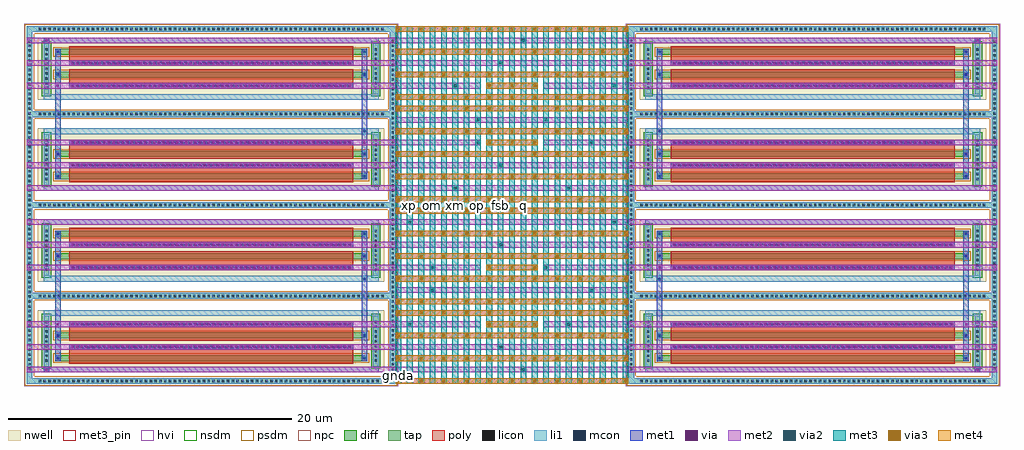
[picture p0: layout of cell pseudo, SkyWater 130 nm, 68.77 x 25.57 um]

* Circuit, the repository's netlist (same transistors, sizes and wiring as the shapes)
* NGSPICE file created from pseudo.ext - technology: sky130A

.subckt pseudo xp om xm op fsb q gnda
X0 xp xp om q sky130_fd_pr__pfet_g5v0d10v5 ad=4.2e+11p pd=2.84e+06u as=4.2e+11p ps=2.84e+06u w=420000u l=2e+07u
X1 xm fsb op q sky130_fd_pr__pfet_g5v0d10v5 ad=4.2e+11p pd=2.84e+06u as=4.2e+11p ps=2.84e+06u w=420000u l=2e+07u
X2 xm op op op sky130_fd_pr__pfet_g5v0d10v5 ad=4.2e+11p pd=2.84e+06u as=4.2e+11p ps=2.84e+06u w=420000u l=2e+07u
X3 op fsb xm q sky130_fd_pr__pfet_g5v0d10v5 ad=4.2e+11p pd=2.84e+06u as=4.2e+11p ps=2.84e+06u w=420000u l=2e+07u
X4 op fsb xm op sky130_fd_pr__pfet_g5v0d10v5 ad=4.2e+11p pd=2.84e+06u as=4.2e+11p ps=2.84e+06u w=420000u l=2e+07u
X5 xm fsb op op sky130_fd_pr__pfet_g5v0d10v5 ad=4.2e+11p pd=2.84e+06u as=4.2e+11p ps=2.84e+06u w=420000u l=2e+07u
X6 op op xm op sky130_fd_pr__pfet_g5v0d10v5 ad=4.2e+11p pd=2.84e+06u as=4.2e+11p ps=2.84e+06u w=420000u l=2e+07u
X7 op xm xm q sky130_fd_pr__pfet_g5v0d10v5 ad=4.2e+11p pd=2.84e+06u as=4.2e+11p ps=2.84e+06u w=420000u l=2e+07u
X8 om fsb xp q sky130_fd_pr__pfet_g5v0d10v5 ad=4.2e+11p pd=2.84e+06u as=4.2e+11p ps=2.84e+06u w=420000u l=2e+07u
X9 om xp xp q sky130_fd_pr__pfet_g5v0d10v5 ad=4.2e+11p pd=2.84e+06u as=4.2e+11p ps=2.84e+06u w=420000u l=2e+07u
X10 xm xm op q sky130_fd_pr__pfet_g5v0d10v5 ad=4.2e+11p pd=2.84e+06u as=4.2e+11p ps=2.84e+06u w=420000u l=2e+07u
X11 xp fsb om q sky130_fd_pr__pfet_g5v0d10v5 ad=4.2e+11p pd=2.84e+06u as=4.2e+11p ps=2.84e+06u w=420000u l=2e+07u
X12 xp fsb om om sky130_fd_pr__pfet_g5v0d10v5 ad=4.2e+11p pd=2.84e+06u as=4.2e+11p ps=2.84e+06u w=420000u l=2e+07u
X13 om om xp om sky130_fd_pr__pfet_g5v0d10v5 ad=4.2e+11p pd=2.84e+06u as=4.2e+11p ps=2.84e+06u w=420000u l=2e+07u
X14 xp om om om sky130_fd_pr__pfet_g5v0d10v5 ad=4.2e+11p pd=2.84e+06u as=4.2e+11p ps=2.84e+06u w=420000u l=2e+07u
X15 om fsb xp om sky130_fd_pr__pfet_g5v0d10v5 ad=4.2e+11p pd=2.84e+06u as=4.2e+11p ps=2.84e+06u w=420000u l=2e+07u
.ends

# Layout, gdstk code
import gdstk
lib = gdstk.Library(unit=1e-6, precision=1e-09)
def R(c, l, rs):  # rectangles x0, y0, x1, y1
    for r in rs: c.add(gdstk.rectangle(r[:2], r[2:], *l))
def A(c, l, x, y, w, h, nx, ny, dx, dy):  # array of equal rectangles
    R(c, l, [(x+i*dx, y+j*dy, x+i*dx+w, y+j*dy+h) for i in range(nx) for j in range(ny)])
nwell = (64, 20)
diff = (65, 20)
tap = (65, 44)
poly = (66, 20)
licon = (66, 44)
li1 = (67, 20)
mcon = (67, 44)
met1 = (68, 20)
via = (68, 44)
met2 = (69, 20)
via2 = (69, 44)
met3_pin = (70, 16)
met3 = (70, 20)
via3 = (70, 44)
met4 = (71, 20)
hvi = (75, 20)
nsdm = (93, 44)
psdm = (94, 20)
npc = (95, 20)

pseudo = lib.new_cell('pseudo')
A(pseudo, nwell, -2, -2.8, 24.4, 4.4, 1, 4, 0, 6.4)
A(pseudo, nwell, 40.4, -2.8, 24.4, 4.4, 1, 4, 0, 6.4)
R(pseudo, diff, [(-0.8,-2,21.2,-1.58), (41.6,-2,63.6,-1.58), (-0.8,-0.4,21.2,0.02), (41.6,-0.4,63.6,0.02), (-0.8,5.18,21.2,5.6), (41.6,5.18,63.6,5.6), (-0.8,6.78,21.2,7.2), (41.6,6.78,63.6,7.2), (-0.8,10.8,21.2,11.22), (41.6,10.8,63.6,11.22), (-0.8,12.4,21.2,12.82), (41.6,12.4,63.6,12.82), (-0.8,17.98,21.2,18.4), (41.6,17.98,63.6,18.4), (-0.8,19.58,21.2,20), (41.6,19.58,63.6,20)])
A(pseudo, tap, -1.6, -2.4, 0.4, 3.6, 1, 4, 0, 6.4)
A(pseudo, tap, 21.6, -2.4, 0.4, 3.6, 1, 4, 0, 6.4)
A(pseudo, tap, 40.8, -2.4, 0.4, 3.6, 1, 4, 0, 6.4)
A(pseudo, tap, 64, -2.4, 0.4, 3.6, 1, 4, 0, 6.4)
A(pseudo, tap, -2.8, 2.4, 26, 0.4, 1, 3, 0, 6.4)
A(pseudo, tap, 39.6, 2.4, 26, 0.4, 1, 3, 0, 6.4)
R(pseudo, tap, [(-2.8,-3.6,23.2,-3.2), (39.6,-3.6,65.6,-3.2), (-2.8,-3.2,-2.4,2.4), (22.8,-3.2,23.2,2.4), (39.6,-3.2,40,2.4), (65.2,-3.2,65.6,2.4), (-2.8,2.8,-2.4,8.8), (22.8,2.8,23.2,8.8), (39.6,2.8,40,8.8), (65.2,2.8,65.6,8.8), (-2.8,9.2,-2.4,15.2), (22.8,9.2,23.2,15.2), (39.6,9.2,40,15.2), (65.2,9.2,65.6,15.2), (-2.8,15.6,-2.4,21.2), (22.8,15.6,23.2,21.2), (39.6,15.6,40,21.2), (65.2,15.6,65.6,21.2), (-2.8,21.2,23.2,21.6), (39.6,21.2,65.6,21.6)])
R(pseudo, poly, [(0.2,-2.2,20.2,-0.8), (42.6,-2.2,62.6,-0.8), (0.2,-0.55,20.2,0.8), (42.6,-0.55,62.6,0.8), (0.2,4.4,20.2,5.75), (42.6,4.4,62.6,5.75), (0.2,6,20.2,7.4), (42.6,6,62.6,7.4), (0.2,10.6,20.2,12), (42.6,10.6,62.6,12), (0.2,12.25,20.2,13.6), (42.6,12.25,62.6,13.6), (0.2,17.2,20.2,18.55), (42.6,17.2,62.6,18.55), (0.2,18.8,20.2,20.2), (42.6,18.8,62.6,20.2)])
A(pseudo, licon, -1.955, -3.485, 0.17, 0.17, 72, 2, 0.34, 6)
A(pseudo, licon, 40.445, -3.485, 0.17, 0.17, 72, 2, 0.34, 6)
A(pseudo, licon, -2.685, -2.645, 0.17, 0.17, 1, 69, 0, 0.34)
A(pseudo, licon, 22.915, -2.645, 0.17, 0.17, 1, 69, 0, 0.34)
A(pseudo, licon, 39.715, -2.645, 0.17, 0.17, 1, 69, 0, 0.34)
A(pseudo, licon, 65.315, -2.645, 0.17, 0.17, 1, 69, 0, 0.34)
A(pseudo, licon, -1.485, -2.045, 0.17, 0.17, 1, 9, 0, 0.34)
A(pseudo, licon, 21.715, -2.045, 0.17, 0.17, 1, 9, 0, 0.34)
A(pseudo, licon, 40.915, -2.045, 0.17, 0.17, 1, 9, 0, 0.34)
A(pseudo, licon, 64.115, -2.045, 0.17, 0.17, 1, 9, 0, 0.34)
A(pseudo, licon, 0.425, -1.085, 0.17, 0.17, 58, 2, 0.34, 1.6)
A(pseudo, licon, 42.825, -1.085, 0.17, 0.17, 58, 2, 0.34, 1.6)
A(pseudo, licon, -1.485, 4.355, 0.17, 0.17, 1, 9, 0, 0.34)
A(pseudo, licon, 21.715, 4.355, 0.17, 0.17, 1, 9, 0, 0.34)
A(pseudo, licon, 40.915, 4.355, 0.17, 0.17, 1, 9, 0, 0.34)
A(pseudo, licon, 64.115, 4.355, 0.17, 0.17, 1, 9, 0, 0.34)
A(pseudo, licon, 0.425, 4.515, 0.17, 0.17, 58, 2, 0.34, 1.6)
A(pseudo, licon, 42.825, 4.515, 0.17, 0.17, 58, 2, 0.34, 1.6)
A(pseudo, licon, -1.955, 8.915, 0.17, 0.17, 72, 2, 0.34, 6.4)
A(pseudo, licon, 40.445, 8.915, 0.17, 0.17, 72, 2, 0.34, 6.4)
A(pseudo, licon, -1.485, 10.755, 0.17, 0.17, 1, 9, 0, 0.34)
A(pseudo, licon, 21.715, 10.755, 0.17, 0.17, 1, 9, 0, 0.34)
A(pseudo, licon, 40.915, 10.755, 0.17, 0.17, 1, 9, 0, 0.34)
A(pseudo, licon, 64.115, 10.755, 0.17, 0.17, 1, 9, 0, 0.34)
A(pseudo, licon, 0.425, 11.715, 0.17, 0.17, 58, 2, 0.34, 1.6)
A(pseudo, licon, 42.825, 11.715, 0.17, 0.17, 58, 2, 0.34, 1.6)
A(pseudo, licon, -1.485, 17.155, 0.17, 0.17, 1, 9, 0, 0.34)
A(pseudo, licon, 21.715, 17.155, 0.17, 0.17, 1, 9, 0, 0.34)
A(pseudo, licon, 40.915, 17.155, 0.17, 0.17, 1, 9, 0, 0.34)
A(pseudo, licon, 64.115, 17.155, 0.17, 0.17, 1, 9, 0, 0.34)
A(pseudo, licon, 0.425, 17.315, 0.17, 0.17, 58, 2, 0.34, 1.6)
A(pseudo, licon, 42.825, 17.315, 0.17, 0.17, 58, 2, 0.34, 1.6)
A(pseudo, licon, -1.955, 21.315, 0.17, 0.17, 72, 1, 0.34, 0)
A(pseudo, licon, 40.445, 21.315, 0.17, 0.17, 72, 1, 0.34, 0)
R(pseudo, licon, [(-0.685,-1.885,-0.515,-1.715), (20.915,-1.885,21.085,-1.715), (41.715,-1.885,41.885,-1.715), (63.315,-1.885,63.485,-1.715), (-0.685,-0.285,-0.515,-0.115), (20.915,-0.285,21.085,-0.115), (41.715,-0.285,41.885,-0.115), (63.315,-0.285,63.485,-0.115), (-0.685,5.315,-0.515,5.485), (20.915,5.315,21.085,5.485), (41.715,5.315,41.885,5.485), (63.315,5.315,63.485,5.485), (-0.685,6.915,-0.515,7.085), (20.915,6.915,21.085,7.085), (41.715,6.915,41.885,7.085), (63.315,6.915,63.485,7.085), (-0.685,10.915,-0.515,11.085), (20.915,10.915,21.085,11.085), (41.715,10.915,41.885,11.085), (63.315,10.915,63.485,11.085), (-0.685,12.515,-0.515,12.685), (20.915,12.515,21.085,12.685), (41.715,12.515,41.885,12.685), (63.315,12.515,63.485,12.685), (-0.685,18.115,-0.515,18.285), (20.915,18.115,21.085,18.285), (41.715,18.115,41.885,18.285), (63.315,18.115,63.485,18.285), (-0.685,19.715,-0.515,19.885), (20.915,19.715,21.085,19.885), (41.715,19.715,41.885,19.885), (63.315,19.715,63.485,19.885)])
A(pseudo, li1, -1.6, -2.4, 0.4, 3.6, 1, 4, 0, 6.4)
A(pseudo, li1, 21.6, -2.4, 0.4, 3.6, 1, 4, 0, 6.4)
A(pseudo, li1, 40.8, -2.4, 0.4, 3.6, 1, 4, 0, 6.4)
A(pseudo, li1, 64, -2.4, 0.4, 3.6, 1, 4, 0, 6.4)
A(pseudo, li1, -2.8, 2.4, 26, 0.4, 1, 3, 0, 6.4)
A(pseudo, li1, 39.6, 2.4, 26, 0.4, 1, 3, 0, 6.4)
R(pseudo, li1, [(-2.8,-3.6,65.6,-3.2), (-2.8,-3.2,-2.4,2.4), (22.8,-3.2,23.2,2.4), (39.6,-3.2,40,2.4), (65.2,-3.2,65.6,2.4), (-1.6,-2.8,22,-2.4), (40.8,-2.8,64.4,-2.4), (-0.8,-2,-0.4,-1.58), (20.8,-2,21.2,-1.58), (41.6,-2,42,-1.58), (63.2,-2,63.6,-1.58), (0.2,-1.2,20.2,-0.8), (42.6,-1.2,62.6,-0.8), (-0.8,-0.4,-0.4,0.02), (20.8,-0.4,21.2,0.02), (41.6,-0.4,42,0.02), (63.2,-0.4,63.6,0.02), (0.2,0.4,20.2,0.8), (42.6,0.4,62.6,0.8), (-1.6,1.2,22,1.6), (40.8,1.2,64.4,1.6), (-2.8,2.8,-2.4,8.8), (22.8,2.8,23.2,8.8), (39.6,2.8,40,8.8), (65.2,2.8,65.6,8.8), (-1.6,3.6,22,4), (40.8,3.6,64.4,4), (0.2,4.4,20.2,4.8), (42.6,4.4,62.6,4.8), (-0.8,5.18,-0.4,5.6), (20.8,5.18,21.2,5.6), (41.6,5.18,42,5.6), (63.2,5.18,63.6,5.6), (0.2,6,20.2,6.4), (42.6,6,62.6,6.4), (-0.8,6.78,-0.4,7.2), (20.8,6.78,21.2,7.2), (41.6,6.78,42,7.2), (63.2,6.78,63.6,7.2), (-1.6,7.6,22,8), (40.8,7.6,64.4,8), (-2.8,9.2,-2.4,15.2), (22.8,9.2,23.2,15.2), (39.6,9.2,40,15.2), (65.2,9.2,65.6,15.2), (-1.6,10,22,10.4), (40.8,10,64.4,10.4), (-0.8,10.8,-0.4,11.22), (20.8,10.8,21.2,11.22), (41.6,10.8,42,11.22), (63.2,10.8,63.6,11.22), (0.2,11.6,20.2,12), (42.6,11.6,62.6,12), (-0.8,12.4,-0.4,12.82), (20.8,12.4,21.2,12.82), (41.6,12.4,42,12.82), (63.2,12.4,63.6,12.82), (0.2,13.2,20.2,13.6), (42.6,13.2,62.6,13.6), (-1.6,14,22,14.4), (40.8,14,64.4,14.4), (-2.8,15.6,-2.4,21.2), (22.8,15.6,23.2,21.2), (39.6,15.6,40,21.2), (65.2,15.6,65.6,21.2), (-1.6,16.4,22,16.8), (40.8,16.4,64.4,16.8), (0.2,17.2,20.2,17.6), (42.6,17.2,62.6,17.6), (-0.8,17.98,-0.4,18.4), (20.8,17.98,21.2,18.4), (41.6,17.98,42,18.4), (63.2,17.98,63.6,18.4), (0.2,18.8,20.2,19.2), (42.6,18.8,62.6,19.2), (-0.8,19.58,-0.4,20), (20.8,19.58,21.2,20), (41.6,19.58,42,20), (63.2,19.58,63.6,20), (-1.6,20.4,22,20.8), (40.8,20.4,64.4,20.8), (-2.8,21.2,65.6,21.6)])
A(pseudo, mcon, 0.395, -1.085, 0.17, 0.17, 55, 2, 0.36, 1.6)
A(pseudo, mcon, 42.795, -1.085, 0.17, 0.17, 55, 2, 0.36, 1.6)
A(pseudo, mcon, 20.915, 3.715, 0.17, 0.17, 1, 3, 0, 1.6)
A(pseudo, mcon, 41.715, 3.715, 0.17, 0.17, 1, 3, 0, 1.6)
A(pseudo, mcon, 0.395, 4.515, 0.17, 0.17, 55, 2, 0.36, 1.6)
A(pseudo, mcon, 42.795, 4.515, 0.17, 0.17, 55, 2, 0.36, 1.6)
A(pseudo, mcon, 20.915, 10.915, 0.17, 0.17, 1, 3, 0, 1.6)
A(pseudo, mcon, 41.715, 10.915, 0.17, 0.17, 1, 3, 0, 1.6)
A(pseudo, mcon, 0.395, 11.715, 0.17, 0.17, 55, 2, 0.36, 1.6)
A(pseudo, mcon, 42.795, 11.715, 0.17, 0.17, 55, 2, 0.36, 1.6)
A(pseudo, mcon, 0.395, 17.315, 0.17, 0.17, 55, 2, 0.36, 1.6)
A(pseudo, mcon, 42.795, 17.315, 0.17, 0.17, 55, 2, 0.36, 1.6)
R(pseudo, mcon, [(-1.485,-2.685,-1.315,-2.515), (64.115,-2.685,64.285,-2.515), (-0.685,-1.885,-0.515,-1.715), (20.915,-1.885,21.085,-1.715), (41.715,-1.885,41.885,-1.715), (63.315,-1.885,63.485,-1.715), (-0.685,-0.285,-0.515,-0.115), (20.915,-0.285,21.085,-0.115), (41.715,-0.285,41.885,-0.115), (63.315,-0.285,63.485,-0.115), (-0.685,5.315,-0.515,5.485), (63.315,5.315,63.485,5.485), (-0.685,6.915,-0.515,7.085), (63.315,6.915,63.485,7.085), (-0.685,10.915,-0.515,11.085), (63.315,10.915,63.485,11.085), (-0.685,12.515,-0.515,12.685), (63.315,12.515,63.485,12.685), (-0.685,18.115,-0.515,18.285), (20.915,18.115,21.085,18.285), (41.715,18.115,41.885,18.285), (63.315,18.115,63.485,18.285), (-0.685,19.715,-0.515,19.885), (20.915,19.715,21.085,19.885), (41.715,19.715,41.885,19.885), (63.315,19.715,63.485,19.885), (-1.485,20.515,-1.315,20.685), (64.115,20.515,64.285,20.685)])
R(pseudo, met1, [(-1.6,-2.8,-1.2,-2.4), (64,-2.8,64.4,-2.4), (-0.8,-2,-0.4,7.2), (20.8,-2,21.2,7.2), (41.6,-2,42,7.2), (63.2,-2,63.6,7.2), (0.2,-1.2,20.2,-0.8), (42.6,-1.2,62.6,-0.8), (0.2,0.4,20.2,0.8), (42.6,0.4,62.6,0.8), (0.2,4.4,20.2,4.8), (42.6,4.4,62.6,4.8), (0.2,6,20.2,6.4), (42.6,6,62.6,6.4), (-0.8,10.8,-0.4,20), (20.8,10.8,21.2,20), (41.6,10.8,42,20), (63.2,10.8,63.6,20), (0.2,11.6,20.2,12), (42.6,11.6,62.6,12), (0.2,13.2,20.2,13.6), (42.6,13.2,62.6,13.6), (0.2,17.2,20.2,17.6), (42.6,17.2,62.6,17.6), (0.2,18.8,20.2,19.2), (42.6,18.8,62.6,19.2), (-1.6,20.4,-1.2,20.8), (64,20.4,64.4,20.8)])
A(pseudo, via, 0.365, -1.075, 0.15, 0.15, 62, 2, 0.32, 1.6)
A(pseudo, via, 42.765, -1.075, 0.15, 0.15, 62, 2, 0.32, 1.6)
A(pseudo, via, 0.365, 4.525, 0.15, 0.15, 62, 2, 0.32, 1.6)
A(pseudo, via, 42.765, 4.525, 0.15, 0.15, 62, 2, 0.32, 1.6)
A(pseudo, via, 0.365, 11.725, 0.15, 0.15, 62, 2, 0.32, 1.6)
A(pseudo, via, 42.765, 11.725, 0.15, 0.15, 62, 2, 0.32, 1.6)
A(pseudo, via, 0.365, 17.325, 0.15, 0.15, 62, 2, 0.32, 1.6)
A(pseudo, via, 42.765, 17.325, 0.15, 0.15, 62, 2, 0.32, 1.6)
R(pseudo, via, [(-1.475,-2.675,-1.325,-2.525), (64.125,-2.675,64.275,-2.525), (-0.675,0.525,-0.525,0.675), (63.325,0.525,63.475,0.675), (20.925,4.525,21.075,4.675), (41.725,4.525,41.875,4.675), (20.925,13.325,21.075,13.475), (41.725,13.325,41.875,13.475), (-0.675,17.325,-0.525,17.475), (63.325,17.325,63.475,17.475), (-1.475,20.525,-1.325,20.675), (64.125,20.525,64.275,20.675)])
A(pseudo, met2, 23.2, -3.6, 16.4, 0.4, 1, 4, 0, 1.6)
A(pseudo, met2, 23.2, 2, 16.4, 0.4, 1, 3, 0, 0.8)
A(pseudo, met2, 23.2, 5.2, 16.4, 0.4, 1, 3, 0, 1.6)
A(pseudo, met2, 23.2, 9.2, 16.4, 0.4, 1, 4, 0, 1.6)
A(pseudo, met2, 23.2, 14.8, 16.4, 0.4, 1, 3, 0, 0.8)
A(pseudo, met2, 23.2, 18, 16.4, 0.4, 1, 3, 0, 1.6)
R(pseudo, met2, [(-2.8,-2.8,65.6,-2.4), (-2.8,-1.2,65.6,-0.8), (-2.8,0.4,29.2,0.8), (29.6,0.4,33.2,0.8), (33.6,0.4,65.6,0.8), (-2.8,4.4,29.2,4.8), (29.6,4.4,33.2,4.8), (33.6,4.4,65.6,4.8), (-2.8,6,65.6,6.4), (-2.8,7.6,65.6,8), (-2.8,10,65.6,10.4), (-2.8,11.6,65.6,12), (-2.8,13.2,29.2,13.6), (29.6,13.2,33.2,13.6), (33.6,13.2,65.6,13.6), (-2.8,17.2,29.2,17.6), (29.6,17.2,33.2,17.6), (33.6,17.2,65.6,17.6), (-2.8,18.8,65.6,19.2), (-2.8,20.4,65.6,20.8)])
A(pseudo, via2, 23.3, -3.5, 0.2, 0.2, 11, 4, 1.6, 1.6)
A(pseudo, via2, 29.7, 0.5, 0.2, 0.2, 3, 2, 1.6, 4)
A(pseudo, via2, 23.3, 2.1, 0.2, 0.2, 11, 5, 1.6, 1.6)
A(pseudo, via2, 23.3, 9.3, 0.2, 0.2, 11, 5, 1.6, 1.6)
A(pseudo, via2, 29.7, 13.3, 0.2, 0.2, 3, 2, 1.6, 4)
A(pseudo, via2, 23.3, 16.5, 0.2, 0.2, 11, 4, 1.6, 1.6)
R(pseudo, via2, [(32.1,-2.7,32.3,-2.5), (30.5,-1.1,30.7,-0.9), (24.1,0.5,24.3,0.7), (35.3,0.5,35.5,0.7), (25.7,2.9,25.9,3.1), (36.9,2.9,37.1,3.1), (25.7,4.5,25.9,4.7), (33.7,4.5,33.9,4.7), (30.5,6.1,30.7,6.3), (24.1,7.7,24.3,7.9), (38.5,7.7,38.7,7.9), (27.3,10.1,27.5,10.3), (35.3,10.1,35.5,10.3), (30.5,11.7,30.7,11.9), (28.9,13.3,29.1,13.5), (36.9,13.3,37.1,13.5), (28.9,14.9,29.1,15.1), (33.7,14.9,33.9,15.1), (27.3,17.3,27.5,17.5), (38.5,17.3,38.7,17.5), (30.5,18.9,30.7,19.1), (32.1,20.5,32.3,20.7)])
A(pseudo, met3_pin, 24, -3.6, 0.4, 25.2, 6, 1, 1.6, 0)
R(pseudo, met3_pin, [(23.2,-3.2,23.6,-2.8)])
A(pseudo, met3, 23.2, -3.6, 0.4, 25.2, 21, 1, 0.8, 0)
A(pseudo, via3, 23.3, -3.5, 0.2, 0.2, 11, 4, 1.6, 1.6)
A(pseudo, via3, 29.7, 0.5, 0.2, 0.2, 3, 2, 1.6, 4)
A(pseudo, via3, 23.3, 2.1, 0.2, 0.2, 11, 5, 1.6, 1.6)
A(pseudo, via3, 23.3, 9.3, 0.2, 0.2, 11, 5, 1.6, 1.6)
A(pseudo, via3, 29.7, 13.3, 0.2, 0.2, 3, 2, 1.6, 4)
A(pseudo, via3, 23.3, 16.5, 0.2, 0.2, 11, 4, 1.6, 1.6)
A(pseudo, met4, 23.2, -3.6, 16.4, 0.4, 1, 4, 0, 1.6)
A(pseudo, met4, 23.2, 2, 16.4, 0.4, 1, 5, 0, 1.6)
A(pseudo, met4, 23.2, 9.2, 16.4, 0.4, 1, 5, 0, 1.6)
A(pseudo, met4, 23.2, 16.4, 16.4, 0.4, 1, 4, 0, 1.6)
R(pseudo, met4, [(29.6,0.4,33.2,0.8), (29.6,4.4,33.2,4.8), (29.6,13.2,33.2,13.6), (29.6,17.2,33.2,17.6)])
R(pseudo, hvi, [(-2.985,-3.785,23.385,21.785), (39.415,-3.785,65.785,21.785)])
A(pseudo, nsdm, -1.725, -2.525, 0.65, 3.85, 1, 4, 0, 6.4)
A(pseudo, nsdm, 21.475, -2.525, 0.65, 3.85, 1, 4, 0, 6.4)
A(pseudo, nsdm, 40.675, -2.525, 0.65, 3.85, 1, 4, 0, 6.4)
A(pseudo, nsdm, 63.875, -2.525, 0.65, 3.85, 1, 4, 0, 6.4)
A(pseudo, psdm, -2.925, 2.275, 26.25, 0.65, 1, 3, 0, 6.4)
A(pseudo, psdm, 39.475, 2.275, 26.25, 0.65, 1, 3, 0, 6.4)
R(pseudo, psdm, [(-2.925,-3.725,23.325,-3.075), (39.475,-3.725,65.725,-3.075), (-2.925,-3.075,-2.275,2.275), (22.675,-3.075,23.325,2.275), (39.475,-3.075,40.125,2.275), (65.075,-3.075,65.725,2.275), (-0.925,-2.125,21.325,-1.455), (41.475,-2.125,63.725,-1.455), (-0.925,-0.525,21.325,0.145), (41.475,-0.525,63.725,0.145), (-2.925,2.925,-2.275,8.675), (22.675,2.925,23.325,8.675), (39.475,2.925,40.125,8.675), (65.075,2.925,65.725,8.675), (-0.925,5.055,21.325,5.725), (41.475,5.055,63.725,5.725), (-0.925,6.655,21.325,7.325), (41.475,6.655,63.725,7.325), (-2.925,9.325,-2.275,15.075), (22.675,9.325,23.325,15.075), (39.475,9.325,40.125,15.075), (65.075,9.325,65.725,15.075), (-0.925,10.675,21.325,11.345), (41.475,10.675,63.725,11.345), (-0.925,12.275,21.325,12.945), (41.475,12.275,63.725,12.945), (-2.925,15.725,-2.275,21.075), (22.675,15.725,23.325,21.075), (39.475,15.725,40.125,21.075), (65.075,15.725,65.725,21.075), (-0.925,17.855,21.325,18.525), (41.475,17.855,63.725,18.525), (-0.925,19.455,21.325,20.125), (41.475,19.455,63.725,20.125), (-2.925,21.075,23.325,21.725), (39.475,21.075,65.725,21.725)])
R(pseudo, npc, [(0.325,-1.185,20.075,-0.815), (42.725,-1.185,62.475,-0.815), (0.325,0.415,20.075,0.785), (42.725,0.415,62.475,0.785), (0.325,4.415,20.075,4.785), (42.725,4.415,62.475,4.785), (0.325,6.015,20.075,6.385), (42.725,6.015,62.475,6.385), (0.325,11.615,20.075,11.985), (42.725,11.615,62.475,11.985), (0.325,13.215,20.075,13.585), (42.725,13.215,62.475,13.585), (0.325,17.215,20.075,17.585), (42.725,17.215,62.475,17.585), (0.325,18.815,20.075,19.185), (42.725,18.815,62.475,19.185)])
pseudo.add(gdstk.Label('xp', (24.2,9), layer=70, texttype=16))
pseudo.add(gdstk.Label('om', (25.8,9), layer=70, texttype=16))
pseudo.add(gdstk.Label('xm', (27.4,9), layer=70, texttype=16))
pseudo.add(gdstk.Label('op', (29,9), layer=70, texttype=16))
pseudo.add(gdstk.Label('fsb', (30.6,9), layer=70, texttype=16))
pseudo.add(gdstk.Label('q', (32.2,9), layer=70, texttype=16))
pseudo.add(gdstk.Label('gnda', (23.4,-3), layer=70, texttype=16))

lib.write_gds('pseudo.gds')
